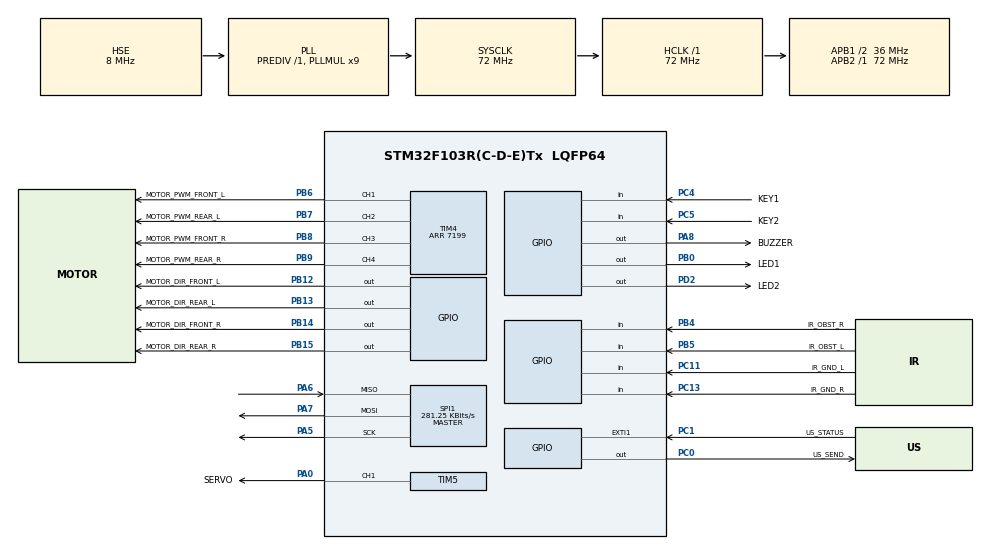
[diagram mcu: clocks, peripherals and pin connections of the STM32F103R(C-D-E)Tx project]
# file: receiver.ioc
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Mcu.Family=STM32F1
Mcu.Name=STM32F103R(C-D-E)Tx
Mcu.Package=LQFP64
NVIC.EXTI1_IRQn=true\:2\:2\:true\:false\:true\:true\:true\:true
NVIC.PriorityGroup=NVIC_PRIORITYGROUP_2
PA0-WKUP.GPIO_Label=SERVO
PA0-WKUP.GPIO_Speed=GPIO_SPEED_FREQ_HIGH
PA0-WKUP.Signal=S_TIM5_CH1
PA13.Mode=Serial_Wire
PA13.Signal=SYS_JTMS-SWDIO
PA14.Mode=Serial_Wire
PA14.Signal=SYS_JTCK-SWCLK
PA5.Mode=Full_Duplex_Master
PA5.Signal=SPI1_SCK
PA6.Mode=Full_Duplex_Master
PA6.Signal=SPI1_MISO
PA7.Mode=Full_Duplex_Master
PA7.Signal=SPI1_MOSI
PA8.GPIO_Label=BUZZER
PA8.GPIO_Speed=GPIO_SPEED_FREQ_HIGH
PA8.PinState=GPIO_PIN_SET
PA8.Signal=GPIO_Output
PB0.GPIO_Label=LED1
PB0.GPIO_Speed=GPIO_SPEED_FREQ_HIGH
PB0.PinState=GPIO_PIN_SET
PB0.Signal=GPIO_Output
PB12.GPIO_Label=MOTOR_DIR_FRONT_L
PB12.GPIO_Speed=GPIO_SPEED_FREQ_HIGH
PB12.Signal=GPIO_Output
PB13.GPIO_Label=MOTOR_DIR_REAR_L
PB13.GPIO_Speed=GPIO_SPEED_FREQ_HIGH
PB13.Signal=GPIO_Output
PB14.GPIO_Label=MOTOR_DIR_FRONT_R
PB14.GPIO_Speed=GPIO_SPEED_FREQ_HIGH
PB14.Signal=GPIO_Output
PB15.GPIO_Label=MOTOR_DIR_REAR_R
PB15.GPIO_Speed=GPIO_SPEED_FREQ_HIGH
PB15.Signal=GPIO_Output
PB4.GPIO_Label=IR_OBST_R
PB4.GPIO_PuPd=GPIO_PULLUP
PB4.Signal=GPIO_Input
PB5.GPIO_Label=IR_OBST_L
PB5.GPIO_PuPd=GPIO_PULLUP
PB5.Signal=GPIO_Input
PB6.GPIO_Label=MOTOR_PWM_FRONT_L
PB6.GPIO_Speed=GPIO_SPEED_FREQ_HIGH
PB6.Signal=S_TIM4_CH1
PB7.GPIO_Label=MOTOR_PWM_REAR_L
PB7.GPIO_Speed=GPIO_SPEED_FREQ_HIGH
PB7.Signal=S_TIM4_CH2
PB8.GPIO_Label=MOTOR_PWM_FRONT_R
PB8.GPIO_Speed=GPIO_SPEED_FREQ_HIGH
PB8.Signal=S_TIM4_CH3
PB9.GPIO_Label=MOTOR_PWM_REAR_R
PB9.GPIO_Speed=GPIO_SPEED_FREQ_HIGH
PB9.Signal=S_TIM4_CH4
PC0.GPIO_Label=US_SEND
PC0.GPIO_Speed=GPIO_SPEED_FREQ_HIGH
PC0.Signal=GPIO_Output
PC1.GPIO_Label=US_STATUS
PC1.GPIO_PuPd=GPIO_PULLDOWN
PC1.Signal=GPXTI1
PC11.GPIO_Label=IR_GND_L
PC11.GPIO_PuPd=GPIO_PULLUP
PC11.Signal=GPIO_Input
PC13-TAMPER-RTC.GPIO_Label=IR_GND_R
PC13-TAMPER-RTC.GPIO_PuPd=GPIO_PULLUP
PC13-TAMPER-RTC.Signal=GPIO_Input
PC4.GPIO_Label=KEY1
PC4.GPIO_PuPd=GPIO_PULLUP
PC4.Signal=GPIO_Input
PC5.GPIO_Label=KEY2
PC5.GPIO_PuPd=GPIO_PULLUP
PC5.Signal=GPIO_Input
PD0-OSC_IN.Mode=HSE-External-Oscillator
PD0-OSC_IN.Signal=RCC_OSC_IN
PD1-OSC_OUT.Mode=HSE-External-Oscillator
PD1-OSC_OUT.Signal=RCC_OSC_OUT
PD2.GPIO_Label=LED2
PD2.GPIO_Speed=GPIO_SPEED_FREQ_HIGH
PD2.PinState=GPIO_PIN_SET
PD2.Signal=GPIO_Output
ProjectManager.HeapSize=0x200
ProjectManager.StackSize=0x400
ProjectManager.TargetToolchain=STM32CubeIDE
RCC.AHBFreq_Value=72000000
RCC.APB1CLKDivider=RCC_HCLK_DIV2
RCC.APB1Freq_Value=36000000
RCC.APB1TimFreq_Value=72000000
RCC.APB2Freq_Value=72000000
RCC.APB2TimFreq_Value=72000000
RCC.HCLKFreq_Value=72000000
RCC.PLLMUL=RCC_PLL_MUL9
RCC.PLLSourceVirtual=RCC_PLLSOURCE_HSE
RCC.SYSCLKFreq_VALUE=72000000
RCC.SYSCLKSource=RCC_SYSCLKSOURCE_PLLCLK
RCC.USBFreq_Value=72000000
SH.S_TIM4_CH1.0=TIM4_CH1,PWM Generation1 CH1
SH.S_TIM4_CH2.0=TIM4_CH2,PWM Generation2 CH2
SH.S_TIM4_CH3.0=TIM4_CH3,PWM Generation3 CH3
SH.S_TIM4_CH4.0=TIM4_CH4,PWM Generation4 CH4
SH.S_TIM5_CH1.0=TIM5_CH1,PWM Generation1 CH1
SPI1.BaudRatePrescaler=SPI_BAUDRATEPRESCALER_256
SPI1.CRCCalculation=SPI_CRCCALCULATION_DISABLE
SPI1.CalculateBaudRate=281.25 KBits/s
SPI1.Direction=SPI_DIRECTION_2LINES
SPI1.Mode=SPI_MODE_MASTER
SPI1.VirtualType=VM_MASTER
TIM1.Prescaler=71
TIM2.Period=5000
TIM2.Prescaler=7199
TIM4.AutoReloadPreload=TIM_AUTORELOAD_PRELOAD_ENABLE
TIM4.Channel-PWM\ Generation1\ CH1=TIM_CHANNEL_1
TIM4.Channel-PWM\ Generation2\ CH2=TIM_CHANNEL_2
TIM4.Channel-PWM\ Generation3\ CH3=TIM_CHANNEL_3
TIM4.Channel-PWM\ Generation4\ CH4=TIM_CHANNEL_4
TIM4.OCMode_PWM-PWM\ Generation1\ CH1=TIM_OCMODE_PWM2
TIM4.OCMode_PWM-PWM\ Generation2\ CH2=TIM_OCMODE_PWM2
TIM4.OCMode_PWM-PWM\ Generation3\ CH3=TIM_OCMODE_PWM2
TIM4.OCMode_PWM-PWM\ Generation4\ CH4=TIM_OCMODE_PWM2
TIM4.Period=7199
TIM5.AutoReloadPreload=TIM_AUTORELOAD_PRELOAD_ENABLE
TIM5.Channel-PWM\ Generation1\ CH1=TIM_CHANNEL_1
TIM5.Channel-PWM\ Generation2\ No\ Output=TIM_CHANNEL_2
TIM5.OC2Preload_PWM=ENABLE
TIM5.Period=9999
TIM5.Prescaler=143
TIM5.TIM_MasterOutputTrigger=TIM_TRGO_RESET
VP_TIM1_VS_ClockSourceINT.Mode=Internal
VP_TIM2_VS_ClockSourceINT.Mode=Internal
VP_TIM4_VS_ClockSourceINT.Mode=Internal
VP_TIM5_VS_ClockSourceINT.Mode=Internal
VP_TIM5_VS_no_output2.Mode=PWM Generation2 No Output
board=custom

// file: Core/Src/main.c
/* USER CODE BEGIN Header */
/**
  ******************************************************************************
  * @file           : main.c
  * @brief          : Main program body
  ******************************************************************************
  * @attention
  *
  * Copyright (c) 2024 STMicroelectronics.
  * All rights reserved.
  *
  * This software is licensed under terms that can be found in the LICENSE file
  * in the root directory of this software component.
  * If no LICENSE file comes with this software, it is provided AS-IS.
  *
  ******************************************************************************
  */
/* USER CODE END Header */
#include "main.h"
#include "spi.h"
#include "tim.h"
#include "gpio.h"

/* USER CODE BEGIN Includes */
//#include "myMotor.h"
#include "utils.h"
#include "strings.h"
#include "24l01.h"
/* USER CODE END Includes */

void SystemClock_Config(void);

int main(void)
{

  /* MCU Configuration--------------------------------------------------------*/

  /* Reset of all peripherals, Initializes the Flash interface and the Systick. */
  HAL_Init();

  /* Configure the system clock */
  SystemClock_Config();

  /* Initialize all configured peripherals */
  MX_GPIO_Init();
  MX_TIM5_Init();
  MX_TIM2_Init();
  MX_TIM1_Init();
  MX_TIM4_Init();
  MX_SPI1_Init();
  /* USER CODE BEGIN 2 */

  HAL_TIM_Base_Start(&htim1);
  HAL_TIM_PWM_Start(&htim4, TIM_CHANNEL_1);
  HAL_TIM_PWM_Start(&htim4, TIM_CHANNEL_2);
  HAL_TIM_PWM_Start(&htim4, TIM_CHANNEL_3);
  HAL_TIM_PWM_Start(&htim4, TIM_CHANNEL_4);
  HAL_TIM_PWM_Start(&htim5, TIM_CHANNEL_1);
  TURN_OFF_BUZZER;
  myCarBrake(0);
  NRF24L01_Init();
  // Check if NRF24L01 module is
  while(NRF24L01_Check()) {
	  HAL_Delay(400);
	  TURN_ON_LED1;
  }
  TURN_OFF_LED1;
  uint16_t t=0;
  uint8_t tmp_buf[33];

//接收
NRF24L01_RX_Mode();
  /* USER CODE END 2 */

  /* Infinite loop */
  /* USER CODE BEGIN WHILE */
while (1)
  {
	if (NRF24L01_RxPacket(tmp_buf)==0)
	{
		TURN_ON_BUZZER;
		HAL_Delay(500);
	} else {
		HAL_Delay_us(100);
		TURN_OFF_BUZZER;
	}
	t++;
	if (t == 10000) {
		t = 0;
		TOGGLE_LED2;
	}
    /* USER CODE END WHILE */

  }
}

void SystemClock_Config(void)
{
  RCC_OscInitTypeDef RCC_OscInitStruct = {0};
  RCC_ClkInitTypeDef RCC_ClkInitStruct = {0};

  /** Initializes the RCC Oscillators according to the specified parameters
  * in the RCC_OscInitTypeDef structure.
  */
  RCC_OscInitStruct.OscillatorType = RCC_OSCILLATORTYPE_HSE;
  RCC_OscInitStruct.HSEState = RCC_HSE_ON;
  RCC_OscInitStruct.HSEPredivValue = RCC_HSE_PREDIV_DIV1;
  RCC_OscInitStruct.HSIState = RCC_HSI_ON;
  RCC_OscInitStruct.PLL.PLLState = RCC_PLL_ON;
  RCC_OscInitStruct.PLL.PLLSource = RCC_PLLSOURCE_HSE;
  RCC_OscInitStruct.PLL.PLLMUL = RCC_PLL_MUL9;
  if (HAL_RCC_OscConfig(&RCC_OscInitStruct) != HAL_OK)
  {
    Error_Handler();
  }

  /** Initializes the CPU, AHB and APB buses clocks
  */
  RCC_ClkInitStruct.ClockType = RCC_CLOCKTYPE_HCLK|RCC_CLOCKTYPE_SYSCLK
                              |RCC_CLOCKTYPE_PCLK1|RCC_CLOCKTYPE_PCLK2;
  RCC_ClkInitStruct.SYSCLKSource = RCC_SYSCLKSOURCE_PLLCLK;
  RCC_ClkInitStruct.AHBCLKDivider = RCC_SYSCLK_DIV1;
  RCC_ClkInitStruct.APB1CLKDivider = RCC_HCLK_DIV2;
  RCC_ClkInitStruct.APB2CLKDivider = RCC_HCLK_DIV1;

  if (HAL_RCC_ClockConfig(&RCC_ClkInitStruct, FLASH_LATENCY_2) != HAL_OK)
  {
    Error_Handler();
  }
}

void Error_Handler(void)
{
  __disable_irq();
  while (1)
  {
  }
}
